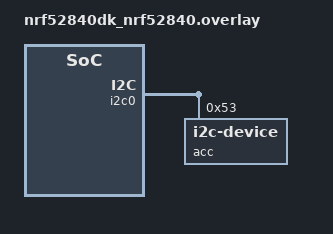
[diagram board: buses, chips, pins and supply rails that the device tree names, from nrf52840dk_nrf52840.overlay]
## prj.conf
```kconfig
CONFIG_I2C=y
CONFIG_LOG=y
CONFIG_GPIO=y
```

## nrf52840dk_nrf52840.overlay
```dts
&spi0 { status = "disabled"; };
&i2c1 { status = "disabled"; };
&i2c0 {
    status = "okay";
    acc: adxl345@53 {
        compatible = "i2c-device";
        reg = <0x53>; 
        status = "okay";
    };
};

&gpio0 {
    status = "okay";
};
```

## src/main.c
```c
/******************************************************
 * Tap Detector
 *
 * Detects single and double taps using an accelerometer,
 * LED1 lights for a single tap, and LED2 lights for a double tap.
 *****************************************************/

#include <zephyr/kernel.h>
#include <zephyr/device.h>
#include <zephyr/drivers/i2c.h>
#include <zephyr/drivers/gpio.h>
#include <zephyr/logging/log.h>

LOG_MODULE_REGISTER(YT_8_1, LOG_LEVEL_INF);

#define ACC_NODE DT_NODELABEL(acc)
static const struct i2c_dt_spec acc = I2C_DT_SPEC_GET(ACC_NODE);

#define SINGLE_TAP (1 << 6)
#define DOUBLE_TAP (1 << 5)
#define INT2_PORT DT_NODELABEL(gpio0)
#define INT2_PIN  2
static const struct device *gpio0 = DEVICE_DT_GET(INT2_PORT);

#define LED1_NI DT_ALIAS(led0)
#define LED2_NI DT_ALIAS(led1)
static const struct gpio_dt_spec led1 = GPIO_DT_SPEC_GET(LED1_NI, gpios);
static const struct gpio_dt_spec led2 = GPIO_DT_SPEC_GET(LED2_NI, gpios);

static int adxl_write(uint8_t reg, uint8_t val) {
    uint8_t buf[2] = { reg, val };
    return i2c_write_dt(&acc, buf, sizeof(buf));
}

static int adxl_read(uint8_t reg, uint8_t *val) {
    return i2c_write_read_dt(&acc, &reg, 1, val, 1);
}

void main(void) {
    if(!i2c_is_ready_dt(&acc)) {
        LOG_ERR("I2C not ready");
        return;
    }
    if(!device_is_ready(gpio0)) {
        LOG_ERR("GPIO0 not ready");
        return;
    }
    if(!device_is_ready(led1.port) || !device_is_ready(led2.port)) {
        LOG_ERR("LEDs not ready");
        return;
    }

    gpio_pin_configure_dt(&led1, GPIO_OUTPUT_INACTIVE);
    gpio_pin_configure_dt(&led2, GPIO_OUTPUT_INACTIVE);
    gpio_pin_configure(gpio0, INT2_PIN, GPIO_INPUT);

    adxl_write(0x1D, 0x30);
    adxl_write(0x21, 0x10);
    adxl_write(0x22, 0x30); 
    adxl_write(0x23, 0xA0); 
    adxl_write(0x2A, 0x07);  
    adxl_write(0x2E, 0x60); 
    adxl_write(0x2F, 0x60); 
    adxl_write(0x2D, 0x08);

    LOG_INF("Program Started");

    while(true) {
        if(gpio_pin_get(gpio0, INT2_PIN) == 1) {
            uint8_t int_source;
            adxl_read(0x30, &int_source);
            if(int_source & DOUBLE_TAP) {
                LOG_INF("Double tap detected");
                gpio_pin_set_dt(&led2, 1);
                k_msleep(1000);
                gpio_pin_set_dt(&led2, 0);
            }
            else if (int_source & SINGLE_TAP) {
                LOG_INF("Single tap detected");
                gpio_pin_set_dt(&led1, 1);
                k_msleep(1000);
                gpio_pin_set_dt(&led1, 0);
            }
            k_msleep(10);
        }
    
        k_msleep(10);
    }
}
```
